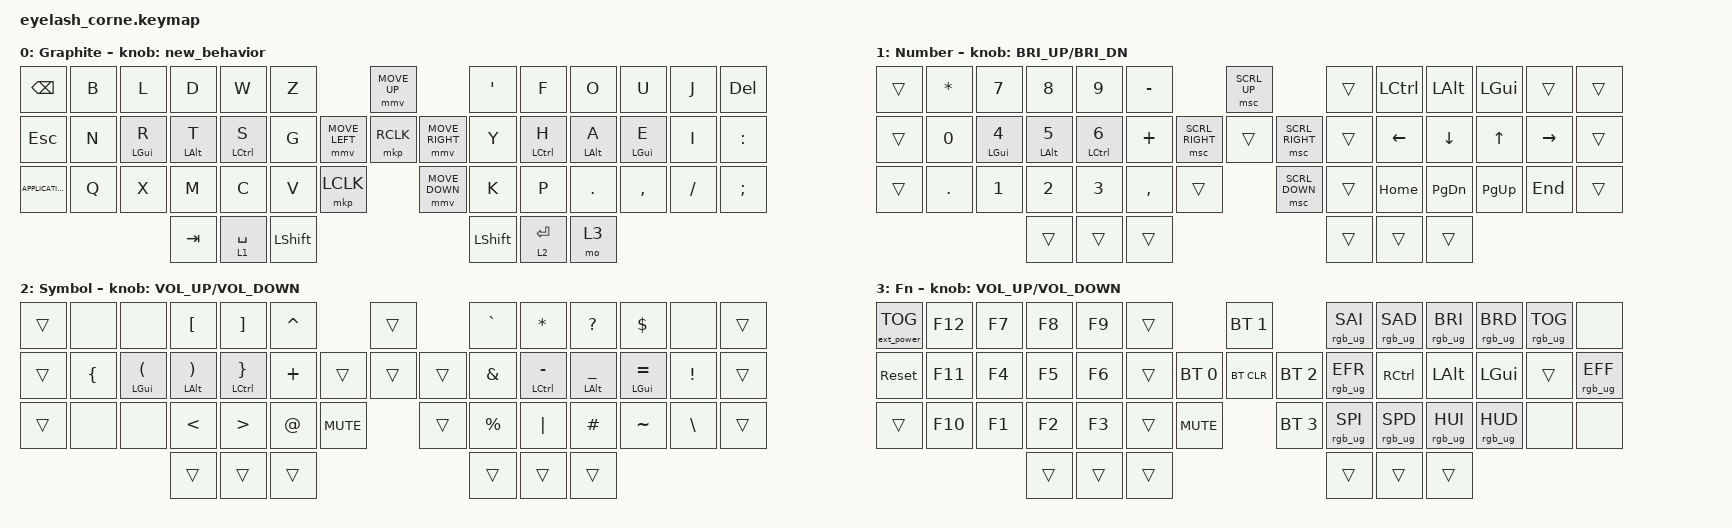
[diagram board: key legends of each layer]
#include <dt-bindings/zmk/mouse.h>
#include <input/processors.dtsi>
#include <behaviors.dtsi>
#include <dt-bindings/zmk/bt.h>
#include <dt-bindings/zmk/ext_power.h>
#include <dt-bindings/zmk/keys.h>
#include <dt-bindings/zmk/pointing.h>
#include <dt-bindings/zmk/rgb.h>

/*

   &mmv_input_listener {
       input-processors = <&zip_xy_scaler 2 1>;
   };

   &msc_input_listener {
       input-processors = <&zip_xy_scaler 2 1>;
   };

 */

#define ZMK_MOUSE_DEFAULT_MOVE_VAL 1200  // 600
#define ZMK_MOUSE_DEFAULT_SCRL_VAL 140    // 10 // 20

&mt {
    flavor = "balanced";
    tapping-term-ms = <250>;
    require-prior-idle-ms = <200>;
};

&lt {
    tapping-term-ms = <250>;
    flavor = "balanced";
};

/ {
    behaviors {
        td0: td0 {
            compatible = "zmk,behavior-tap-dance";
            display-name = "Shift/Caps Lock Tap Dance";
            #binding-cells = <0>;
            bindings = <&kp LEFT_SHIFT>, <&kp CAPS>;
        };

        new_behavior: new_behavior {
            compatible = "zmk,behavior-sensor-rotate";
            label = "NEW_BEHAVIOR";
            #sensor-binding-cells = <0>;
            bindings = <&kp UP>, <&kp DOWN>;

            tap-ms = <0>;
        };
    };

    rgb_encoder: rgb_encoder {
        compatible = "zmk,behavior-sensor-rotate";
        #sensor-binding-cells = <0>;
        bindings = <&rgb_ug RGB_BRI>, <&rgb_ug RGB_BRD>;
    };

    scroll_encoder: scroll_encoder {
        compatible = "zmk,behavior-sensor-rotate";
        #sensor-binding-cells = <0>;
        bindings = <&msc SCRL_DOWN>, <&msc SCRL_UP>;

        tap-ms = <30>;
    };

    combos { compatible = "zmk,combos"; };

    keymap {
        compatible = "zmk,keymap";

        default_layer {
            display-name = "Graphite";
            bindings = <
&kp BACKSPACE      &kp B  &kp L           &kp D           &kp W        &kp Z                                        &mmv MOVE_UP                     &kp SINGLE_QUOTE  &kp F         &kp O           &kp U           &kp J      &kp DELETE
&kp ESCAPE         &kp N  &mt LEFT_GUI R  &mt LEFT_ALT T  &mt LCTRL S  &kp G                        &mmv MOVE_LEFT  &mkp RCLK       &mmv MOVE_RIGHT  &kp Y             &mt LCTRL H   &mt LEFT_ALT A  &mt LEFT_GUI E  &kp I      &kp COLON
&kp K_APPLICATION  &kp Q  &kp X           &kp M           &kp C        &kp V           &mkp LCLK                    &mmv MOVE_DOWN                   &kp K             &kp P         &kp PERIOD      &kp COMMA       &kp SLASH  &kp SEMICOLON
                                          &kp TAB         &lt 1 SPACE  &kp LEFT_SHIFT                                                                &kp LEFT_SHIFT    &lt 2 RETURN  &mo 3
            >;

            sensor-bindings = <&new_behavior>;
        };

        lower_layer {
            display-name = "Number";
            bindings = <
&trans  &kp ASTERISK  &kp N7                 &kp N8           &kp N9        &kp MINUS                             &msc SCRL_UP                     &trans  &kp LCTRL  &kp LEFT_ALT   &kp LEFT_GUI  &trans     &trans
&trans  &kp N0        &mt LEFT_GUI NUMBER_4  &mt LEFT_ALT N5  &mt LCTRL N6  &kp PLUS             &msc SCRL_RIGHT  &trans          &msc SCRL_RIGHT  &trans  &kp LEFT   &kp DOWN       &kp UP        &kp RIGHT  &trans
&trans  &kp DOT       &kp N1                 &kp N2           &kp N3        &kp COMMA  &trans                     &msc SCRL_DOWN                   &trans  &kp HOME   &kp PAGE_DOWN  &kp PAGE_UP   &kp END    &trans
                                             &trans           &trans        &trans                                                                 &trans  &trans     &trans
            >;

            sensor-bindings = <&inc_dec_kp C_BRI_UP C_BRI_DN>;
        };

        raise_layer {
            display-name = "Symbol";
            bindings = <
&trans  &none           &none                          &kp LEFT_BRACKET                &kp RIGHT_BRACKET      &kp CARET                          &trans          &kp GRAVE      &kp ASTRK               &kp QUESTION             &kp DOLLAR          &none            &trans
&trans  &kp LEFT_BRACE  &mt LEFT_GUI LEFT_PARENTHESIS  &mt LEFT_ALT RIGHT_PARENTHESIS  &mt LCTRL RIGHT_BRACE  &kp PLUS                   &trans  &trans  &trans  &kp AMPERSAND  &mt LEFT_CONTROL MINUS  &mt LEFT_ALT UNDERSCORE  &mt LEFT_GUI EQUAL  &kp EXCLAMATION  &trans
&trans  &none           &none                          &kp LESS_THAN                   &kp GREATER_THAN       &kp AT_SIGN  &kp K_MUTE            &trans          &kp PERCENT    &kp PIPE                &kp HASH                 &kp TILDE           &kp BACKSLASH    &trans
                                                       &trans                          &trans                 &trans                                             &trans         &trans                  &trans
            >;

            sensor-bindings = <&inc_dec_kp C_VOLUME_UP C_VOLUME_DOWN>;
        };

        layer_3 {
            display-name = "Fn";
            bindings = <
&ext_power EP_TOG  &kp F12  &kp F7  &kp F8  &kp F9  &trans                              &bt BT_SEL 1                &rgb_ug RGB_SAI  &rgb_ug RGB_SAD  &rgb_ug RGB_BRI  &rgb_ug RGB_BRD  &rgb_ug RGB_TOG  &none
&sys_reset         &kp F11  &kp F4  &kp F5  &kp F6  &trans                &bt BT_SEL 0  &bt BT_CLR    &bt BT_SEL 2  &rgb_ug RGB_EFR  &kp RCTRL        &kp LEFT_ALT     &kp LEFT_GUI     &trans           &rgb_ug RGB_EFF
&trans             &kp F10  &kp F1  &kp F2  &kp F3  &trans  &kp C_MUTE                  &bt BT_SEL 3                &rgb_ug RGB_SPI  &rgb_ug RGB_SPD  &rgb_ug RGB_HUI  &rgb_ug RGB_HUD  &none            &none
                                    &trans  &trans  &trans                                                          &trans           &trans           &trans
            >;

            sensor-bindings = <&inc_dec_kp C_VOLUME_UP C_VOLUME_DOWN>;
        };
    };
};
